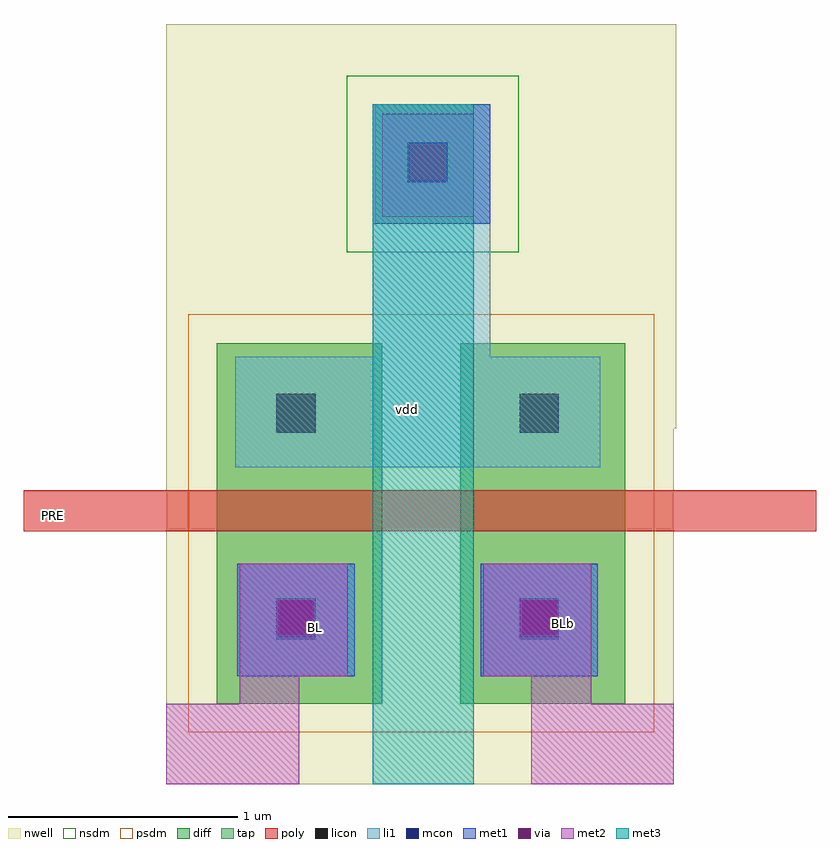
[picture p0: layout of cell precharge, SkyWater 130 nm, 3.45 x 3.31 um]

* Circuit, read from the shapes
.subckt precharge BL BLb PRE vdd
XM1 vdd PRE BL vdd sky130_fd_pr__pfet_01v8 w=0.72 l=0.18
XM2 vdd PRE BLb vdd sky130_fd_pr__pfet_01v8 w=0.72 l=0.18
.ends

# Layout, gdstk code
import gdstk
lib = gdstk.Library(unit=1e-6, precision=1e-09)
def R(c, l, rs):  # rectangles x0, y0, x1, y1
    for r in rs: c.add(gdstk.rectangle(r[:2], r[2:], *l))
nwell = (64, 20)
diff = (65, 20)
tap = (65, 44)
poly = (66, 20)
licon = (66, 44)
li1 = (67, 20)
mcon = (67, 44)
met1 = (68, 20)
via = (68, 44)
met2 = (69, 20)
met3 = (70, 20)
nsdm = (93, 44)
psdm = (94, 20)

precharge = lib.new_cell('precharge')
R(precharge, nwell, [(-2.52,-1.1,-0.31,0.45), (-2.52,0.45,-0.3,2.21)])
R(precharge, diff, [(-2.3,-0.75,-1.58,0.82), (-1.24,-0.75,-0.52,0.82)])
R(precharge, tap, [(-1.61,1.34,-1.11,1.86)])
R(precharge, poly, [(-3.14,0,0.31,0.18)])
R(precharge, licon, [(-2.04,-0.47,-1.87,-0.3), (-0.98,-0.47,-0.81,-0.3), (-2.04,0.43,-1.87,0.6), (-0.98,0.43,-0.81,0.6), (-1.47,1.52,-1.3,1.69)])
R(precharge, li1, [(-2.21,-0.63,-1.7,-0.14), (-1.15,-0.63,-0.64,-0.14), (-2.22,0.28,-0.63,0.76), (-1.62,0.76,-1.11,1.86)])
R(precharge, mcon, [(-2.04,-0.46,-1.87,-0.29), (-0.98,-0.46,-0.81,-0.29), (-1.465,1.525,-1.295,1.695)])
R(precharge, met1, [(-2.21,-0.63,-1.7,-0.14), (-1.15,-0.63,-0.64,-0.14), (-1.62,1.34,-1.11,1.86)])
R(precharge, via, [(-2.03,-0.45,-1.88,-0.3), (-0.97,-0.45,-0.82,-0.3), (-1.455,1.535,-1.305,1.685)])
R(precharge, met2, [(-2.52,-1.1,-1.94,-0.75), (-0.93,-1.1,-0.31,-0.75), (-2.2,-0.75,-1.94,-0.63), (-0.93,-0.75,-0.67,-0.63), (-2.2,-0.63,-1.73,-0.14), (-1.14,-0.63,-0.67,-0.14), (-1.58,1.37,-1.18,1.82)])
R(precharge, met3, [(-1.62,-1.1,-1.18,1.86)])
R(precharge, nsdm, [(-1.735,1.215,-0.985,1.985)])
R(precharge, psdm, [(-2.425,-0.875,-0.395,0.945)])
precharge.add(gdstk.Label('PRE', (-3.01,0.07), layer=66, texttype=5))
precharge.add(gdstk.Label('BL', (-1.87,-0.42), layer=67, texttype=5))
precharge.add(gdstk.Label('BLb', (-0.79,-0.4), layer=67, texttype=5))
precharge.add(gdstk.Label('vdd', (-1.47,0.53), layer=67, texttype=5))

lib.write_gds('precharge.gds')
